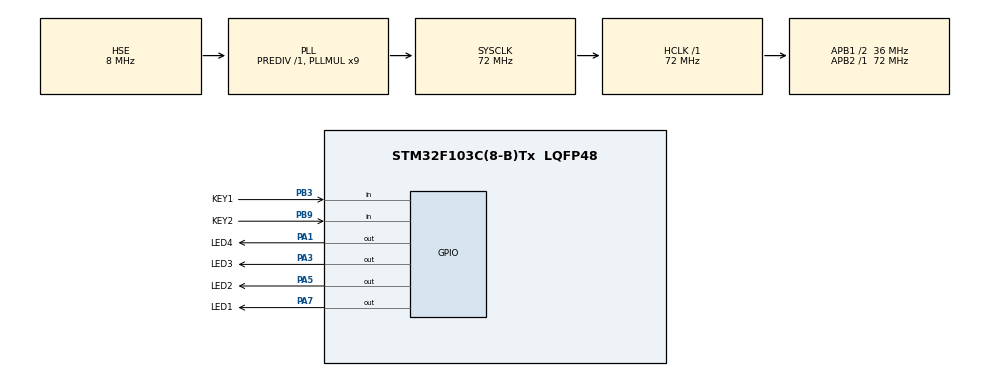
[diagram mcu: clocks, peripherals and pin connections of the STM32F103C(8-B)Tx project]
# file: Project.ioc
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Mcu.Family=STM32F1
Mcu.Name=STM32F103C(8-B)Tx
Mcu.Package=LQFP48
NVIC.PriorityGroup=NVIC_PRIORITYGROUP_4
NVIC.TIM2_IRQn=true\:0\:0\:false\:false\:true\:true\:true\:true
PA1.GPIO_Label=LED4
PA1.PinState=GPIO_PIN_SET
PA1.Signal=GPIO_Output
PA13.Mode=Serial_Wire
PA13.Signal=SYS_JTMS-SWDIO
PA14.Mode=Serial_Wire
PA14.Signal=SYS_JTCK-SWCLK
PA3.GPIO_Label=LED3
PA3.PinState=GPIO_PIN_SET
PA3.Signal=GPIO_Output
PA5.GPIO_Label=LED2
PA5.PinState=GPIO_PIN_SET
PA5.Signal=GPIO_Output
PA7.GPIO_Label=LED1
PA7.GPIO_Speed=GPIO_SPEED_FREQ_HIGH
PA7.PinState=GPIO_PIN_SET
PA7.Signal=GPIO_Output
PB3.GPIO_Label=KEY1
PB3.GPIO_PuPd=GPIO_PULLDOWN
PB3.Signal=GPIO_Input
PB9.GPIO_Label=KEY2
PB9.GPIO_PuPd=GPIO_PULLDOWN
PB9.Signal=GPIO_Input
PC14-OSC32_IN.Mode=LSE-External-Oscillator
PC14-OSC32_IN.Signal=RCC_OSC32_IN
PC15-OSC32_OUT.Mode=LSE-External-Oscillator
PC15-OSC32_OUT.Signal=RCC_OSC32_OUT
PD0-OSC_IN.Mode=HSE-External-Oscillator
PD0-OSC_IN.Signal=RCC_OSC_IN
PD1-OSC_OUT.Mode=HSE-External-Oscillator
PD1-OSC_OUT.Signal=RCC_OSC_OUT
ProjectManager.HeapSize=0x200
ProjectManager.StackSize=0x400
ProjectManager.TargetToolchain=MDK-ARM V5.32
RCC.AHBFreq_Value=72000000
RCC.APB1CLKDivider=RCC_HCLK_DIV2
RCC.APB1Freq_Value=36000000
RCC.APB1TimFreq_Value=72000000
RCC.APB2Freq_Value=72000000
RCC.APB2TimFreq_Value=72000000
RCC.HCLKFreq_Value=72000000
RCC.PLLMUL=RCC_PLL_MUL9
RCC.PLLSourceVirtual=RCC_PLLSOURCE_HSE
RCC.SYSCLKFreq_VALUE=72000000
RCC.SYSCLKSource=RCC_SYSCLKSOURCE_PLLCLK
RCC.USBFreq_Value=72000000
TIM2.AutoReloadPreload=TIM_AUTORELOAD_PRELOAD_ENABLE
TIM2.Period=200-1
TIM2.Prescaler=7200-1
VP_TIM2_VS_ClockSourceINT.Mode=Internal
board=custom

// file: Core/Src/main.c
/* USER CODE BEGIN Header */
/**
  ******************************************************************************
  * @file           : main.c
  * @brief          : Main program body
  ******************************************************************************
  * @attention
  *
  * Copyright (c) 2026 STMicroelectronics.
  * All rights reserved.
  *
  * This software is licensed under terms that can be found in the LICENSE file
  * in the root directory of this software component.
  * If no LICENSE file comes with this software, it is provided AS-IS.
  *
  ******************************************************************************
  */
/* USER CODE END Header */
#include "main.h"
#include "tim.h"
#include "gpio.h"

/* USER CODE BEGIN Includes */
#include "Key.h"
/* USER CODE END Includes */

void SystemClock_Config(void);

int main(void)
{

  /* MCU Configuration--------------------------------------------------------*/

  /* Reset of all peripherals, Initializes the Flash interface and the Systick. */
  HAL_Init();

  /* Configure the system clock */
  SystemClock_Config();

  /* Initialize all configured peripherals */
  MX_GPIO_Init();
  MX_TIM2_Init();
  /* USER CODE BEGIN 2 */
  Key_InitStruct Key1;
  Key1.GPIOx = GPIOB;
  Key1.GPIO_Pin = KEY1_Pin;
  Key1.Pull = GPIO_PULLDOWN;
  Key_AddKey(Key1);
  Key_InitStruct Key2;
  Key2.GPIOx = GPIOB;
  Key2.GPIO_Pin = KEY2_Pin;
  Key2.Pull = GPIO_PULLDOWN;
  Key_AddKey(Key2);
  HAL_TIM_Base_Start_IT(&htim2);
  /* USER CODE END 2 */

  /* Infinite loop */
  /* USER CODE BEGIN WHILE */
  while (1)
  {
    if (Key.Loop)
    {
      Key_Loop();
    }

    switch (Key.KeyEvent[0])
    {
    case SINGLE:
      HAL_GPIO_TogglePin(GPIOA, LED1_Pin);
      Key.KeyEvent[0] = UNPRESSED;
      break;
    case DOUBLE:
      HAL_GPIO_TogglePin(GPIOA, LED2_Pin);
      Key.KeyEvent[0] = UNPRESSED;
      break;
    case REPEAT:
      HAL_GPIO_TogglePin(GPIOA, LED3_Pin);
      Key.KeyEvent[0] = UNPRESSED;
      break;
    case LONG_PRESS:
      HAL_GPIO_TogglePin(GPIOA, LED4_Pin);
      Key.KeyEvent[0] = UNPRESSED;
      break;
    }

    switch (Key.KeyEvent[1])
    {
    case SINGLE:
      HAL_GPIO_TogglePin(GPIOA, LED4_Pin);
      Key.KeyEvent[1] = UNPRESSED;
      break;
    case DOUBLE:
      HAL_GPIO_TogglePin(GPIOA, LED3_Pin);
      Key.KeyEvent[1] = UNPRESSED;
      break;
    case REPEAT:
      HAL_GPIO_TogglePin(GPIOA, LED2_Pin);
      Key.KeyEvent[1] = UNPRESSED;
      break;
    case LONG_PRESS:
      HAL_GPIO_TogglePin(GPIOA, LED1_Pin);
      Key.KeyEvent[1] = UNPRESSED;
      break;
    }

    /* USER CODE END WHILE */

  }
}

void SystemClock_Config(void)
{
  RCC_OscInitTypeDef RCC_OscInitStruct = {0};
  RCC_ClkInitTypeDef RCC_ClkInitStruct = {0};

  /** Initializes the RCC Oscillators according to the specified parameters
  * in the RCC_OscInitTypeDef structure.
  */
  RCC_OscInitStruct.OscillatorType = RCC_OSCILLATORTYPE_HSE;
  RCC_OscInitStruct.HSEState = RCC_HSE_ON;
  RCC_OscInitStruct.HSEPredivValue = RCC_HSE_PREDIV_DIV1;
  RCC_OscInitStruct.HSIState = RCC_HSI_ON;
  RCC_OscInitStruct.PLL.PLLState = RCC_PLL_ON;
  RCC_OscInitStruct.PLL.PLLSource = RCC_PLLSOURCE_HSE;
  RCC_OscInitStruct.PLL.PLLMUL = RCC_PLL_MUL9;
  if (HAL_RCC_OscConfig(&RCC_OscInitStruct) != HAL_OK)
  {
    Error_Handler();
  }

  /** Initializes the CPU, AHB and APB buses clocks
  */
  RCC_ClkInitStruct.ClockType = RCC_CLOCKTYPE_HCLK|RCC_CLOCKTYPE_SYSCLK
                              |RCC_CLOCKTYPE_PCLK1|RCC_CLOCKTYPE_PCLK2;
  RCC_ClkInitStruct.SYSCLKSource = RCC_SYSCLKSOURCE_PLLCLK;
  RCC_ClkInitStruct.AHBCLKDivider = RCC_SYSCLK_DIV1;
  RCC_ClkInitStruct.APB1CLKDivider = RCC_HCLK_DIV2;
  RCC_ClkInitStruct.APB2CLKDivider = RCC_HCLK_DIV1;

  if (HAL_RCC_ClockConfig(&RCC_ClkInitStruct, FLASH_LATENCY_2) != HAL_OK)
  {
    Error_Handler();
  }
}

void Error_Handler(void)
{
  __disable_irq();
  while (1)
  {
  }
}
